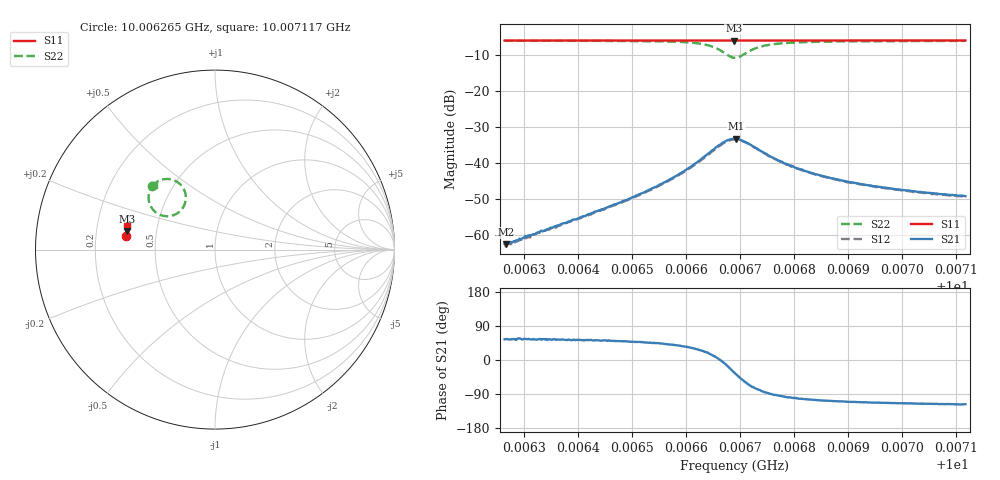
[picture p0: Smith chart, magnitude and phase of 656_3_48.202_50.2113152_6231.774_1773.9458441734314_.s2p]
#  HZ  S  RI  R  50.00
! Rohde & Schwarz Vector Network Analyzer
! Rohde-Schwarz,ZNB20-2Port,1311601062101988,3.16
! Created: UTC 3/20/2024, 12:05:32 PM
! freq[Hz]  re:S11  im:S11  re:S21  im:S21  re:S12  im:S12  re:S22  im:S22
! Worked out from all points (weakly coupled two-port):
!   401 points, 10.006265 GHz to 10.007117 GHz, reference 50 ohm
!   highest |S21| = -33.21 dB at 10.006693 GHz (marker M1); lowest = -62.5 dB at 10.006267 GHz (marker M2)
!   lowest |S11| = -6.0 dB at 10.006689 GHz (marker M3), VSWR 3.02, Z = 16.7 + j4.64 ohm
!   |S11| at or under -10 dB: nowhere
!   |S22| runs from -10.8 to -6.0 dB; largest |S21 - S12| = 0.0018
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1.00062648e10  -0.4978 0.0773  0.000437 0.000617  0.000368 0.000605  -0.3527 0.354
1.0006267e10  -0.4977 0.0773  0.00043 0.000611  0.000347 0.000613  -0.3525 0.3542
1.00064075e10  -0.4966 0.0865  0.00111 0.00143  0.00101 0.00146  -0.3382 0.3669
1.00064949e10  -0.4955 0.0923  0.00213 0.0024  0.00197 0.00244  -0.3225 0.378
1.00065502e10  -0.4948 0.096  0.00355 0.00347  0.00333 0.00352  -0.304 0.3871
1.00065992e10  -0.4941 0.0995  0.00656 0.00461  0.00617 0.00478  -0.2712 0.3936
1.00066418e10  -0.493 0.1023  0.0131 0.00421  0.0123 0.00477  -0.2103 0.3771
1.00066567e10  -0.4924 0.103  0.0166 0.0019  0.016 0.00275  -0.1809 0.3487
1.00066716e10  -0.4917 0.1035  0.0196 -0.0031  0.0192 -0.00179  -0.1626 0.2958
1.00066823e10  -0.4914 0.1037  0.0197 -0.0085  0.0197 -0.00696  -0.1715 0.2472
1.00066887e10  -0.4914 0.1037  0.0184 -0.0116  0.0188 -0.00993  -0.1887 0.2204
1.00066908e10  -0.4915 0.1038  0.0178 -0.0125  0.0183 -0.011  -0.1962 0.213
1.00066929e10  -0.4915 0.1039  0.0172 -0.0135  0.0177 -0.0118  -0.2043 0.206
1.000671e10  -0.492 0.1045  0.0103 -0.0168  0.0111 -0.016  -0.2771 0.1864
1.00067249e10  -0.4924 0.1053  0.00525 -0.0162  0.00605 -0.0157  -0.3243 0.2037
1.00067398e10  -0.4925 0.1064  0.00199 -0.0144  0.00284 -0.0141  -0.3499 0.2285
1.00067845e10  -0.4924 0.1096  -0.00125 -0.00967  -0.000773 -0.00968  -0.3697 0.2832
1.00068335e10  -0.4919 0.1129  -0.00187 -0.00704  -0.00148 -0.007  -0.3674 0.3128
1.00068995e10  -0.4911 0.1173  -0.00191 -0.00518  -0.00161 -0.00519  -0.3604 0.3333
1.00069762e10  -0.4901 0.1223  -0.00178 -0.00411  -0.00158 -0.00411  -0.3532 0.347
1.00070592e10  -0.4889 0.1276  -0.00168 -0.00341  -0.0015 -0.00346  -0.3464 0.357
1.00071167e10  -0.488 0.1312  -0.00156 -0.00312  -0.0014 -0.00316  -0.3424 0.3623
